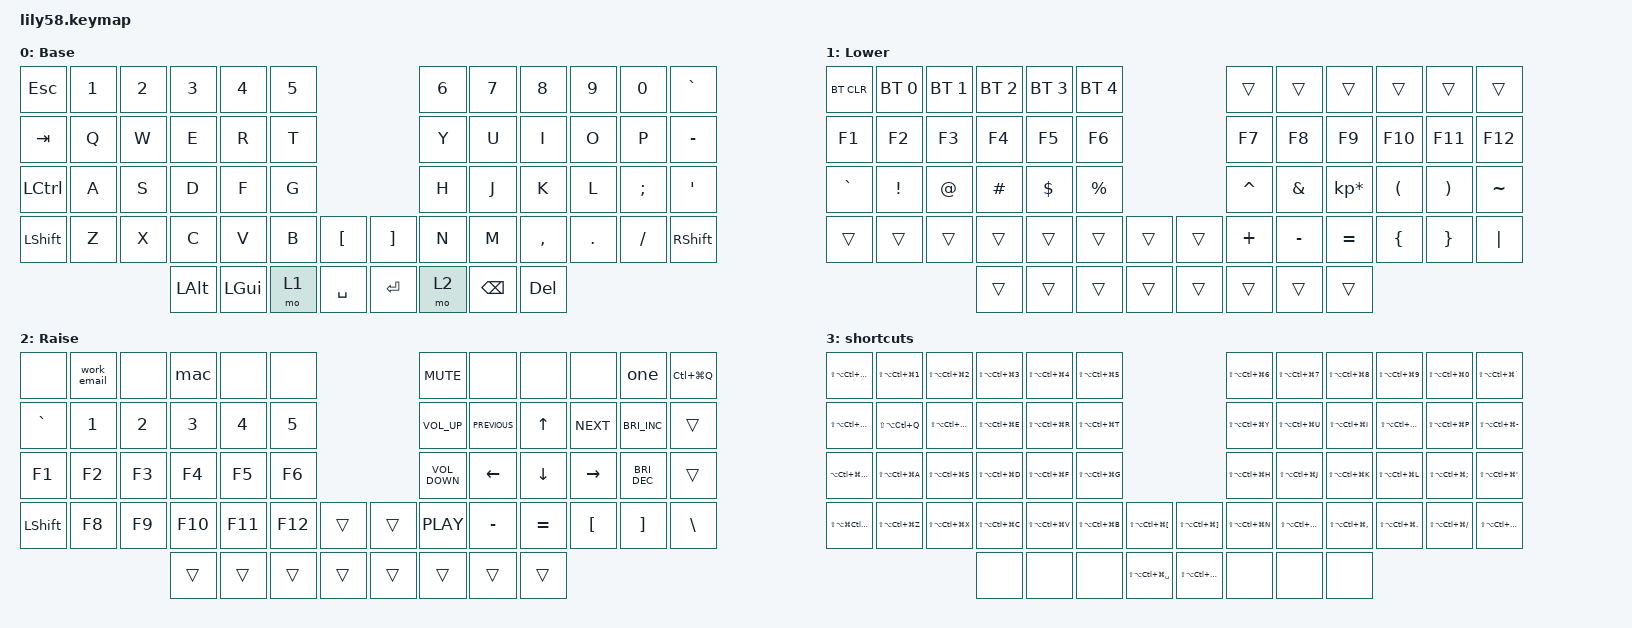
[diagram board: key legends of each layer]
/*
 * Copyright (c) 2020 The ZMK Contributors
 *
 * SPDX-License-Identifier: MIT
 */

#include <behaviors.dtsi>
#include <dt-bindings/zmk/bt.h>
#include <dt-bindings/zmk/keys.h>

/ {
    macros {
        one: macPass {
            compatible = "zmk,behavior-macro";
            #binding-cells = <0>;
            bindings = <&kp N7 &kp RBRC &kp QMARK &kp LS(S) &kp LS(Q) &kp LT &kp N8 &kp N8 &kp M &kp E &kp LS(J) &kp X>;
            label = "MACPASS";
        };

        mac: mac {
            compatible = "zmk,behavior-macro";
            #binding-cells = <0>;
            bindings = <&kp LS(T) &kp H &kp E &kp LS(E) &kp G &kp A &kp N3 &kp N5 &kp N7 &kp N1 &kp N5 &kp N9 &kp EXCL &kp EXCLAMATION &kp EXCLAMATION>;
            label = "MAC";
        };

        work_email: work_email {
            compatible = "zmk,behavior-macro";
            #binding-cells = <0>;
            bindings = <&kp AT &kp S &kp T &kp O &kp R &kp Y &kp B &kp Y &kp DOT &kp T &kp E &kp C &kp H>;
            label = "WORK_EMAIL";
        };
    };

    keymap {
        compatible = "zmk,keymap";

        default_layer {
            // ------------------------------------------------------------------------------------------------------------
            // |  ESC  |  1  |  2  |  3   |  4   |  5   |                   |  6   |  7    |  8    |  9   |   0   |   `   |
            // |  TAB  |  Q  |  W  |  E   |  R   |  T   |                   |  Y   |  U    |  I    |  O   |   P   |   -   |
            // |  CTRL |  A  |  S  |  D   |  F   |  G   |                   |  H   |  J    |  K    |  L   |   ;   |   '   |
            // | SHIFT |  Z  |  X  |  C   |  V   |  B   |   "["  |  |  "]"  |  N   |  M    |  ,    |  .   |   /   | SHIFT |
            //                     | ALT  | GUI  | LOWER|  SPACE |  | ENTER | RAISE| BSPC  | GUI   |

            display-name = "Base";
            bindings = <
&kp ESC    &kp N1  &kp N2  &kp N3    &kp N4    &kp N5                         &kp N6  &kp N7    &kp N8      &kp N9   &kp N0    &kp GRAVE
&kp TAB    &kp Q   &kp W   &kp E     &kp R     &kp T                          &kp Y   &kp U     &kp I       &kp O    &kp P     &kp MINUS
&kp LCTRL  &kp A   &kp S   &kp D     &kp F     &kp G                          &kp H   &kp J     &kp K       &kp L    &kp SEMI  &kp SQT
&kp LSHFT  &kp Z   &kp X   &kp C     &kp V     &kp B   &kp LBKT     &kp RBKT  &kp N   &kp M     &kp COMMA   &kp DOT  &kp FSLH  &kp RSHFT
                           &kp LALT  &kp LGUI  &mo 1   &kp SPACE    &kp RET   &mo 2   &kp BSPC  &kp DELETE
            >;
        };

        lower_layer {
            // ------------------------------------------------------------------------------------------------------------
            // | BTCLR | BT1 | BT2 |  BT3 |  BT4 |  BT5 |                   |      |       |       |      |       |       |
            // |  F1   |  F2 |  F3 |  F4  |  F5  |  F6  |                   |  F7  |  F8   |  F9   |  F10 |  F11  |  F12  |
            // |   `   |  !  |  @  |  #   |  $   |  %   |                   |  ^   |  &    |  *    |  (   |   )   |   ~   |
            // |       |     |     |      |      |      |        |  |       |      |  _    |  +    |  {   |   }   |  "|"  |
            //                     |      |      |      |        |  |       |      |       |       |

            display-name = "Lower";
            bindings = <
&bt BT_CLR  &bt BT_SEL 0  &bt BT_SEL 1  &bt BT_SEL 2  &bt BT_SEL 3  &bt BT_SEL 4                    &trans     &trans     &trans           &trans    &trans    &trans
&kp F1      &kp F2        &kp F3        &kp F4        &kp F5        &kp F6                          &kp F7     &kp F8     &kp F9           &kp F10   &kp F11   &kp F12
&kp GRAVE   &kp EXCL      &kp AT        &kp HASH      &kp DOLLAR    &kp PRCNT                       &kp CARET  &kp AMPS   &kp KP_MULTIPLY  &kp LPAR  &kp RPAR  &kp TILDE
&trans      &trans        &trans        &trans        &trans        &trans        &trans    &trans  &kp PLUS   &kp MINUS  &kp EQUAL        &kp LBRC  &kp RBRC  &kp PIPE
                                        &trans        &trans        &trans        &trans    &trans  &trans     &trans     &trans
            >;
        };

        raise_layer {
            // ------------------------------------------------------------------------------------------------------------
            // |       |     |     |      |      |      |                   |      |       |       |      |       |       |
            // |   `   |  1  |  2  |  3   |  4   |  5   |                   |  6   |   7   |   8   |  9   |   0   |       |
            // |   F1  |  F2 |  F3 |  F4  |  F5  |  F6  |                   |      |   <-  |   v   |  ^   |  ->   |       |
            // |   F7  |  F8 |  F9 |  F10 |  F11 |  F12 |        |  |       |  +   |   -   |   =   |  [   |   ]   |   \   |
            //                     |      |      |      |        |  |       |      |       |       |

            display-name = "Raise";
            bindings = <
&none           &work_email  &none   &mac     &none    &none                      &kp K_MUTE         &none           &none           &none            &one                  &kp LC(LG(Q))
&kp GRAVE       &kp N1       &kp N2  &kp N3   &kp N4   &kp N5                     &kp C_VOLUME_UP    &kp C_PREVIOUS  &kp UP_ARROW    &kp C_NEXT       &kp C_BRIGHTNESS_INC  &trans
&kp F1          &kp F2       &kp F3  &kp F4   &kp F5   &kp F6                     &kp C_VOLUME_DOWN  &kp LEFT_ARROW  &kp DOWN_ARROW  &kp RIGHT_ARROW  &kp C_BRIGHTNESS_DEC  &trans
&kp LEFT_SHIFT  &kp F8       &kp F9  &kp F10  &kp F11  &kp F12  &trans    &trans  &kp C_PLAY         &kp MINUS       &kp EQUAL       &kp LBKT         &kp RBKT              &kp BSLH
                                     &trans   &trans   &trans   &trans    &trans  &trans             &trans          &trans
            >;
        };

        shortcuts {
            bindings = <
&kp LS(LA(LC(LG(ESC))))        &kp LS(LA(LC(LG(N1))))  &kp LS(LA(LC(LG(N2))))  &kp LS(LA(LC(LG(N3))))  &kp LS(LA(LC(LG(N4))))  &kp LS(LA(LC(LG(N5))))                                                         &kp LS(LA(LC(LG(N6))))  &kp LS(LA(LC(LG(N7))))  &kp LS(LA(LC(LG(N8))))     &kp LS(LA(LC(LG(N9))))   &kp LS(LA(LC(LG(N0))))    &kp LS(LA(LC(LG(GRAVE))))
&kp LS(LA(LC(LG(TAB))))        &kp LS(LA(LC(Q)))       &kp LS(LA(LC(LG(W))))   &kp LS(LA(LC(LG(E))))   &kp LS(LA(LC(LG(R))))   &kp LS(LA(LC(LG(T))))                                                          &kp LS(LA(LC(LG(Y))))   &kp LS(LA(LC(LG(U))))   &kp LS(LA(LC(LG(I))))      &kp LS(LA(LC(LG(O))))    &kp LS(LA(LC(LG(P))))     &kp LS(LA(LC(LG(MINUS))))
&kp LA(LC(LG(LS(NUBS))))       &kp LS(LA(LC(LG(A))))   &kp LS(LA(LC(LG(S))))   &kp LS(LA(LC(LG(D))))   &kp LS(LA(LC(LG(F))))   &kp LS(LA(LC(LG(G))))                                                          &kp LS(LA(LC(LG(H))))   &kp LS(LA(LC(LG(J))))   &kp LS(LA(LC(LG(K))))      &kp LS(LA(LC(LG(L))))    &kp LS(LA(LC(LG(SEMI))))  &kp LS(LA(LC(LG(SQT))))
&kp LS(LA(LG(LC(LESS_THAN))))  &kp LS(LA(LC(LG(Z))))   &kp LS(LA(LC(LG(X))))   &kp LS(LA(LC(LG(C))))   &kp LS(LA(LC(LG(V))))   &kp LS(LA(LC(LG(B))))   &kp LS(LA(LC(LG(LBKT))))     &kp LS(LA(LC(LG(RBKT))))  &kp LS(LA(LC(LG(N))))   &kp LS(LA(LC(LG(M))))   &kp LS(LA(LC(LG(COMMA))))  &kp LS(LA(LC(LG(DOT))))  &kp LS(LA(LC(LG(FSLH))))  &kp LS(LA(LC(LG(GREATER_THAN))))
                                                                               &none                   &none                   &none                   &kp LS(LA(LC(LG(SPACE))))    &kp LS(LA(LC(LG(RET))))   &none                   &none                   &none
            >;
        };
    };

    conditional_layers {
        compatible = "zmk,conditional-layers";

        aactivate-shortcuts {
            if-layers = <1 2>;
            then-layer = <3>;
        };
    };
};
